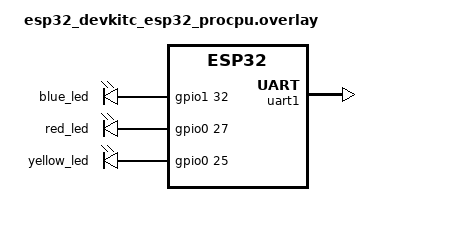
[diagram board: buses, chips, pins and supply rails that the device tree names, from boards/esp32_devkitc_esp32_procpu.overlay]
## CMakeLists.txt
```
# SPDX-License-Identifier: Apache-2.0

cmake_minimum_required(VERSION 3.20.0)

list(APPEND ZEPHYR_EXTRA_MODULES ${CMAKE_CURRENT_SOURCE_DIR}/../_modules/entity_lib)

find_package(Zephyr REQUIRED HINTS $ENV{ZEPHYR_BASE})
project(master)


target_include_directories(app PRIVATE include)

target_sources(app PRIVATE 
    src/main.c
    src/network_events.c
)
```

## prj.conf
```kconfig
CONFIG_HEAP_MEM_POOL_SIZE=8096
CONFIG_ZVFS_POLL_MAX=10

CONFIG_NO_OPTIMIZATIONS=y
```

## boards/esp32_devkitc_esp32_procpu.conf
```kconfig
CONFIG_GPIO=y

CONFIG_SERIAL=y

CONFIG_LOG=y
CONFIG_LOG_MAX_LEVEL=4
```

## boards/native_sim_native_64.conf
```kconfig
CONFIG_NATIVE_SIM_SLOWDOWN_TO_REAL_TIME=n
CONFIG_POSIX_API=y


CONFIG_GPIO=y
CONFIG_GPIO_EMUL=y

CONFIG_SERIAL=y
CONFIG_EMUL=y

CONFIG_NET_L2_ETHERNET=y
CONFIG_ETH_NATIVE_TAP=n
CONFIG_NET_SOCKETS=y
CONFIG_NETWORKING=y
CONFIG_NET_IPV4=y
CONFIG_NET_TCP=y
CONFIG_NET_ARP=y

CONFIG_LOG=y
CONFIG_LOG_MAX_LEVEL=4
```

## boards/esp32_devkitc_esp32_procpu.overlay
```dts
/ {
    aliases {
        command-bus =  &uart1;
        blue-led = &blue_led;
        red-led = &red_led;
        yellow-led = &yellow_led;
    };

    led_map: led-map {
        compatible = "gpio-leds";
        blue_led: blue-led {
            gpios = <&gpio1 32 GPIO_ACTIVE_HIGH>;
        };
        red_led: red-led {
            gpios = <&gpio0 27 GPIO_ACTIVE_HIGH>;
        };
        yellow_led: yellow-led {
            gpios = <&gpio0 25 GPIO_ACTIVE_HIGH>;
        };
    };
};

&gpio0 {
    status = "okay";
};

&gpio1 {
    status = "okay";
};

&uart1 {
    status = "okay";
    label = "ftest_uart_emul";
};
```

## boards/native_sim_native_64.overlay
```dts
/ {
    aliases {
        command-bus =  &uart1;
        blue-led = &blue_led;
        red-led = &red_led;
        yellow-led = &yellow_led;
    };

    ftest_eth: ftest_eth {
        status = "okay";
        compatible = "ftest,eth-inproc";
        status = "okay";
        mac = [ 00 11 22 33 44 57  ];
        ip = "192.169.0.2";
        mask = "255.255.255.0";
    };

    led_map: led-map {
        status = "okay";
        compatible = "gpio-leds";
        blue_led: blue-led {
            gpios = <&gpio0 1 GPIO_ACTIVE_HIGH>;
        };
        red_led: red-led {
            gpios = <&gpio0 2 GPIO_ACTIVE_HIGH>;
        };
        yellow_led: yellow-led {
            gpios = <&gpio0 3 GPIO_ACTIVE_HIGH>;
        };
    };
};

&gpio0 {
    status = "okay";
    label = "ftest_gpio_emul";
};

&uart1 {
    status = "okay";
    compatible = "zephyr,uart-emul";
    label = "ftest_uart_emul";
    current-speed = <0>;
    rx-fifo-size = <256>;
    tx-fifo-size = <256>;
};
```

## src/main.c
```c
#include "network_events.h"
#include "sys/socket.h"
#include "zephyr/drivers/gpio.h"
#include "zephyr/drivers/uart.h"
#include "zephyr/net/net_ip.h"
#include <errno.h>
#include <string.h>
#include <zephyr/kernel.h>
#include <zephyr/logging/log.h>
#include <zephyr/net/socket.h>

/******************************************************************************
 Definitions
 ******************************************************************************/

#define SERVER_PORT 12345

#define BUZZER_CMD_SHORT ((char)'b')
#define BUZZER_CMD_LONG ((char)'l')
#define BUZZER_CMD_STOP ((char)'s')

#define NET_CMD_IDENTIFY_AS_DEVICE ((char)'d')
#define NET_CMD_IDENTIFY_AS_STATION ((char)'s')
#define NET_CMD_ACK ((char)'a')
#define NET_CMD_DEVICE_REGISTERED ((char)'r')
#define NET_CMD_ALARM ((char)'\x01')
#define NET_CMD_ARM ((char)'\x02')
#define NET_CMD_DISARM ((char)'\x03')

/******************************************************************************
 Configuration
 ******************************************************************************/

LOG_MODULE_REGISTER(socket_client);

/******************************************************************************
 Devices
 ******************************************************************************/

static const struct gpio_dt_spec blue_led =
    GPIO_DT_SPEC_GET(DT_ALIAS(blue_led), gpios);

static const struct gpio_dt_spec red_led =
    GPIO_DT_SPEC_GET(DT_ALIAS(red_led), gpios);

static const struct gpio_dt_spec yellow_led =
    GPIO_DT_SPEC_GET(DT_ALIAS(yellow_led), gpios);

static const struct device *uart = DEVICE_DT_GET(DT_ALIAS(command_bus));

/******************************************************************************
 Data
 ******************************************************************************/

enum alarm_state {
  ALARM_STATE_DISABLED,
  ALARM_STATE_ARMED,
};

static enum alarm_state alarm_state = ALARM_STATE_DISABLED;
static unsigned server_id = NETWORK_DEVICE_ID_NO_DEVICE;

/******************************************************************************
 Delayed work
 ******************************************************************************/

static void disable_red_led(struct k_work *work) {

  int ret = gpio_pin_set_dt(&red_led, 0);
  if (ret < 0) {
    LOG_ERR("Failed to disable red LED, error %d", ret);
    return;
  }

  LOG_INF("Red LED disabled");
}

K_WORK_DELAYABLE_DEFINE(disable_red_led_work, disable_red_led);

static void disable_blue_led(struct k_work *work) {

  int ret = gpio_pin_set_dt(&blue_led, 0);
  if (ret < 0) {
    LOG_ERR("Failed to disable blue LED, error %d", ret);
    return;
  }

  LOG_INF("Blue LED disabled");
}

K_WORK_DELAYABLE_DEFINE(disable_blue_led_work, disable_blue_led);

static void disable_yellow_led(struct k_work *work) {

  int ret = gpio_pin_set_dt(&yellow_led, 0);
  if (ret < 0) {
    LOG_ERR("Failed to disable yellow LED, error %d", ret);
    return;
  }

  LOG_INF("Yellow LED disabled");
}

K_WORK_DELAYABLE_DEFINE(disable_yellow_led_work, disable_yellow_led);

/******************************************************************************
 Utils
 ******************************************************************************/

static int send_confirmation(int device_id) {
  int ret;

  int fd = network_device_get_fd(device_id);

  if (fd < 0) {
    LOG_ERR("Failed to get file descriptor for device %d", device_id);
    return -1;
  }

  char command = NET_CMD_ACK;
  ret = send(fd, &command, sizeof(command), 0);

  return ret > 0 ? 0 : -1;
}

static int send_dev_registered(void) {
  int ret;

  int fd = network_device_get_fd(server_id);

  if (fd < 0) {
    LOG_ERR("Failed to get file descriptor for device %d", server_id);
    return -1;
  }

  char command = NET_CMD_DEVICE_REGISTERED;
  ret = send(fd, &command, sizeof(command), 0);

  if (ret < 0) {
    LOG_ERR("Failed to send device registered command for server %d, error %d",
            server_id, errno);
    return -1;
  }

  return ret > 0 ? 0 : -1;
}

/******************************************************************************
 Handlers
 ******************************************************************************/

static int trigger_alarm(unsigned device_id) {
  int ret;

  if (alarm_state == ALARM_STATE_DISABLED) {
    LOG_WRN("Ignoring alarm, as device %d is disarmed for device", device_id);
    return -1;
  }

  LOG_INF("Alarm triggered for device %d", device_id);

  ret = gpio_pin_set_dt(&red_led, 1);

  if (ret < 0) {
    LOG_ERR("Failed to enable red LED, error %d", ret);
    return ret;
  }

  uart_poll_out(uart, BUZZER_CMD_SHORT);

  int server_fd = network_device_get_fd(server_id);

  if (server_fd < 0) {
    LOG_ERR("Failed to get file descriptor for server %d", server_id);
    return -1;
  }

  char command = NET_CMD_ALARM;
  ret = send(server_fd, &command, sizeof(command), 0);

  if (ret < 0) {
    LOG_ERR("Failed to send alarm command for device %d, error %d", device_id,
            errno);
    return ret;
  }

  return 0;
}

static int disarm_system(unsigned device_id) {
  int ret;

  LOG_INF("Disarming system for device %d", device_id);
  alarm_state = ALARM_STATE_DISABLED;

  ret = gpio_pin_set_dt(&yellow_led, 0);
  if (ret < 0) {
    LOG_ERR("Failed to enable yellow LED, error %d", ret);
    return ret;
  }

  ret = send_confirmation(device_id);
  if (ret < 0) {
    LOG_ERR("Failed to send confirmation for device %d, error %d", device_id,
            ret);
    return ret;
  }

  uart_poll_out(uart, BUZZER_CMD_STOP);
  return -1;
}

static int arm_system(unsigned device_id) {
  int ret;

  LOG_INF("Arming system for device %d", device_id);
  alarm_state = ALARM_STATE_ARMED;

  ret = gpio_pin_set_dt(&yellow_led, 1);
  if (ret < 0) {
    LOG_ERR("Failed to enable yellow LED, error %d", ret);
    return ret;
  }

  uart_poll_out(uart, BUZZER_CMD_LONG);

  ret = send_confirmation(device_id);
  if (ret < 0) {
    LOG_ERR("Failed to send confirmation for device %d, error %d", device_id,
            ret);
    return ret;
  }

  return 0;
}

static int identify_as_device(unsigned device_id) {
  int ret;

  LOG_INF("Identifying as device for device %d", device_id);

  ret = gpio_pin_set_dt(&blue_led, 1);

  if (ret < 0) {
    LOG_ERR("Failed to enable blue LED, error %d", ret);
    return ret;
  }

  ret = k_work_schedule(&disable_blue_led_work, K_MSEC(300));

  if (ret < 0) {
    LOG_ERR("Failed to schedule work to disable yellow LED, error %d", ret);
    return ret;
  }

  ret = network_device_set_handler(device_id, NET_CMD_ALARM, trigger_alarm);

  if (ret < 0) {
    LOG_ERR("Failed to set handler for alarm command, error %d", ret);
    return ret;
  }

  ret = send_dev_registered();
  if (ret < 0) {
    LOG_ERR("Failed to send device registered for device %d, error %d",
            device_id, ret);
    return ret;
  }

  return 0;
}

static int identify_as_station(unsigned device_id) {
  int ret;

  LOG_INF("Identifying as station for device %d", device_id);

  if (server_id != NETWORK_DEVICE_ID_NO_DEVICE) {
    LOG_ERR("Server already identified, cannot identify as station");
    return -1;
  }

  server_id = device_id;

  ret = gpio_pin_set_dt(&blue_led, 1);

  if (ret < 0) {
    LOG_ERR("Failed to enable blue LED, error %d", ret);
    return ret;
  }

  ret = k_work_schedule(&disable_blue_led_work, K_MSEC(300));

  if (ret < 0) {
    LOG_ERR("Failed to schedule work to disable blue LED, error %d", ret);
    return ret;
  }

  ret = network_device_set_handler(device_id, NET_CMD_ALARM, trigger_alarm);

  if (ret < 0) {
    LOG_ERR("Failed to set handler for alarm command, error %d", ret);
    return ret;
  }

  ret = network_device_set_handler(device_id, NET_CMD_ARM, arm_system);
  if (ret < 0) {
    LOG_ERR("Failed to set handler for arm command, error %d", ret);
    return ret;
  }

  ret = network_device_set_handler(device_id, NET_CMD_DISARM, disarm_system);
  if (ret < 0) {
    LOG_ERR("Failed to set handler for disarm command, error %d", ret);
    return ret;
  }

  ret = send_confirmation(device_id);
  if (ret < 0) {
    LOG_ERR("Failed to send confirmation for device %d, error %d", device_id,
            ret);
    return ret;
  }

  return 0;
}

/******************************************************************************
 Error handling
 ******************************************************************************/

static void handle_net_error(unsigned device_id, int error_code) {
  LOG_ERR("Network error for device %d: %d", device_id, error_code);

  if (alarm_state == ALARM_STATE_ARMED) {
    trigger_alarm(device_id);
  }

  network_device_remove(device_id);
}

static void handle_command_error(unsigned device_id, unsigned char command,
                                 int error_code) {
  LOG_ERR("Command error for device %d, command '%c': %d", device_id, command,
          error_code);

  if (alarm_state == ALARM_STATE_ARMED) {
    trigger_alarm(device_id);
  }

  network_device_remove(device_id);
}

/******************************************************************************
 Main
 ******************************************************************************/

int main(void) {
  /** configure led pins */
  gpio_pin_configure_dt(&blue_led, GPIO_OUTPUT_ACTIVE);
  gpio_pin_configure_dt(&red_led, GPIO_OUTPUT_ACTIVE);
  gpio_pin_configure_dt(&yellow_led, GPIO_OUTPUT_ACTIVE);

  if (!device_is_ready(uart)) {
    LOG_ERR("UART device not ready");
    return -ENODEV;
  }

  int server_socket = socket(AF_INET, SOCK_STREAM, IPPROTO_TCP);

  if (server_socket < 0) {
    LOG_ERR("Failed to create socket, error %d: %s", errno, strerror(errno));
    return -errno;
  }

  struct sockaddr_in server_addr = {
      .sin_family = AF_INET,
      .sin_port = htons(SERVER_PORT),
      .sin_addr.s_addr = htonl(INADDR_ANY),
  };

  int ret =
      bind(server_socket, (struct sockaddr *)&server_addr, sizeof(server_addr));

  if (ret < 0) {
    LOG_ERR("Failed to bind socket, error %d: %s", errno, strerror(errno));
    close(server_socket);
    return -errno;
  }

  ret = listen(server_socket, 5);
  if (ret < 0) {
    LOG_ERR("Failed to listen on socket, error %d: %s", errno, strerror(errno));
    close(server_socket);
    return -errno;
  }

  unsigned device_id_counter = 1;

  while (true) {
    ret = accept(server_socket, NULL, NULL);

    if (ret < 0) {
      LOG_ERR("Failed to accept connection, error %d: %s", errno,
              strerror(errno));
      continue;
    }

    LOG_INF("Accepted connection on socket %d", ret);

    unsigned device_id = device_id_counter++;

    if (alarm_state == ALARM_STATE_ARMED) {
      LOG_INF("Alarm is armed, triggering alarm for new connection");
      ret = trigger_alarm(device_id_counter);

      if (ret < 0) {
        LOG_ERR("Failed to trigger alarm for new connection, error %d", ret);
      }

      close(ret);
      continue;
    }

    ret = network_device_add(device_id, ret);
    if (ret < 0) {
      LOG_ERR("Failed to add network device with id %d, error %d: %s",
              device_id, errno, strerror(errno));
      close(ret);
      continue;
    }

    ret = network_device_set_command_error_handler(device_id,
                                                   handle_command_error);
    if (ret < 0) {
      LOG_ERR("Failed to set command error handler for device %d, error %d",
              device_id, ret);
      network_device_remove(device_id);
      close(ret);
      continue;
    }

    ret = network_device_set_net_error_handler(device_id, handle_net_error);
    if (ret < 0) {
      LOG_ERR("Failed to set network error handler for device %d, error %d",
              device_id, ret);
      network_device_remove(device_id);
      close(ret);
      continue;
    }

    LOG_INF("Network device with id %d added successfully", device_id);

    ret = network_device_set_handler(device_id, NET_CMD_IDENTIFY_AS_DEVICE,
                                     identify_as_device);
    if (ret < 0) {
      LOG_ERR("Failed to set identify as device handler, error %d", ret);
      network_device_remove(device_id);
      close(ret);
      continue;
    }

    ret = network_device_set_handler(device_id, NET_CMD_IDENTIFY_AS_STATION,
                                     identify_as_station);

    if (ret < 0) {
      LOG_ERR("Failed to set identify as station handler, error %d", ret);
      network_device_remove(device_id);
      close(ret);
      continue;
    }

    LOG_INF("Network device with id %d is ready to handle commands", device_id);
    network_device_enable_handling(device_id);

    ret = network_device_notify_reconfig();
    if (ret < 0) {
      LOG_ERR("Failed to notify reconfiguration, error %d: %s", errno,
              strerror(errno));
      network_device_remove(device_id);
      close(ret);
      continue;
    }
  }
}
```

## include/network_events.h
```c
#pragma once
#include <stdbool.h>

/******************************************************************************
 Definitions
 ******************************************************************************/

#define NETWORK_DEVICE_ID_NO_DEVICE 0

/******************************************************************************
 API
 ******************************************************************************/

bool network_device_exists(unsigned device_id);

int network_device_get_fd(unsigned device_id);

int network_device_add(unsigned device_id, int fd);

int network_device_enable_handling(unsigned device_id);

int network_device_disable_handling(unsigned device_id);

int network_device_remove(unsigned device_id);

int network_device_notify_reconfig();

int network_device_set_command_error_handler(
    unsigned device_id, void (*handler)(unsigned, unsigned char, int));

int network_device_set_net_error_handler(unsigned device_id,
                                         void (*handler)(unsigned, int));

int network_device_set_handler(int device_id, unsigned char command,
                               int (*handler)(unsigned));
```

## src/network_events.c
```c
#include "network_events.h"
#include "poll.h"
#include "sys/socket.h"
#include "zephyr/kernel.h"
#include "zephyr/logging/log.h"
#include <errno.h>
#include <stddef.h>
#include <string.h>
#include <sys/_types.h>

/******************************************************************************
 Definitions
 ******************************************************************************/

#define MAX_TRACKED_DEVICES 10
#define COMMAND_HANDLER_COUNT (UCHAR_MAX + 1)

#define POLLFD_RECONF_SOCK_IDX 0

#define UNIX_CMD_RECONFIG ((char)'\r')
#define UNIX_CMD_ACK ((char)'\a')

#define EVENT_HANDLER_POLL_TIMEOUT -1

/******************************************************************************
 Configuration
 ******************************************************************************/

LOG_MODULE_REGISTER(network_events);

/******************************************************************************
 Structures
 ******************************************************************************/

struct network_device {
  unsigned device_id;
  int fd;
  bool handled;
  int (*command_handlers[COMMAND_HANDLER_COUNT])(unsigned);
  void (*net_error_handler)(unsigned device_id, int error_code);
  void (*command_error_handler)(unsigned device_id, unsigned char command,
                                int error_code);
};

/******************************************************************************
 Data
 ******************************************************************************/

static int config_socket;

static struct network_device tracked_devices[MAX_TRACKED_DEVICES];

/******************************************************************************
 Utils
 ******************************************************************************/

static struct network_device *find_free_place() {
  for (unsigned i = 0; i < MAX_TRACKED_DEVICES; i++) {
    struct network_device *place = &tracked_devices[i];

    if (place->device_id == NETWORK_DEVICE_ID_NO_DEVICE) {
      return place;
    }
  }

  return NULL;
}

static struct network_device *network_device_find_by_id(unsigned device_id) {
  for (unsigned i = 0; i < MAX_TRACKED_DEVICES; i++) {
    struct network_device *dev = &tracked_devices[i];

    if (dev->device_id == NETWORK_DEVICE_ID_NO_DEVICE) {
      continue;
    }

    if (dev->device_id == device_id) {
      return dev;
    }
  }

  return NULL;
}

static struct network_device *network_device_find_by_fd(int fd) {
  for (unsigned i = 0; i < MAX_TRACKED_DEVICES; i++) {
    struct network_device *dev = &tracked_devices[i];

    if (dev->device_id == NETWORK_DEVICE_ID_NO_DEVICE) {
      continue;
    }

    if (dev->fd == fd) {
      return dev;
    }
  }

  return NULL;
}

/******************************************************************************
 API
 ******************************************************************************/

bool network_device_exists(unsigned device_id) {
  return network_device_find_by_id(device_id) != NULL;
}

int network_device_get_fd(unsigned device_id) {
  struct network_device *net_dev = network_device_find_by_id(device_id);

  if (net_dev < 0) {
    return -1;
  }

  return net_dev->fd;
}

int network_device_add(unsigned device_id, int fd) {
  if (device_id == NETWORK_DEVICE_ID_NO_DEVICE) {
    return -1;
  }

  struct network_device *dev = network_device_find_by_id(device_id);

  if (dev != NULL) {
    return -1;
  }

  dev = find_free_place();

  if (dev == NULL) {
    return -1;
  }

  dev->device_id = device_id;
  dev->fd = fd;

  memset(dev->command_handlers, 0, sizeof(dev->command_handlers));

  return 0;
}

int network_device_enable_handling(unsigned device_id) {
  struct network_device *dev = network_device_find_by_id(device_id);

  if (dev == NULL) {
    return -1;
  }

  dev->handled = true;
  LOG_INF("Device %d handling enabled", device_id);
  return 0;
}

int network_device_disable_handling(unsigned device_id) {
  struct network_device *dev = network_device_find_by_id(device_id);

  if (dev == NULL) {
    return -1;
  }

  dev->handled = false;
  LOG_INF("Device %d handling disabled", device_id);
  return 0;
}

int network_device_remove(unsigned device_id) {
  struct network_device *dev = network_device_find_by_id(device_id);

  if (dev == NULL) {
    return -1;
  }

  dev->device_id = NETWORK_DEVICE_ID_NO_DEVICE;

  return 0;
}

int network_device_notify_reconfig(void) {

  char command = UNIX_CMD_RECONFIG;
  int ret = send(config_socket, &command, sizeof(command), 0);

  if (ret < 0) {
    return ret;
  }

  char response;
  ret = recv(config_socket, &response, sizeof(response), 0);

  if (ret <= 0 || response != UNIX_CMD_ACK) {
    return -1;
  }

  return 0;
}

int network_device_set_command_error_handler(
    unsigned device_id, void (*handler)(unsigned, unsigned char, int)) {
  struct network_device *dev = network_device_find_by_id(device_id);

  if (dev == NULL) {
    LOG_ERR("Device with id %d not found", device_id);
    return -1;
  }

  dev->command_error_handler = handler;

  LOG_INF("Command error handler set for device %d", device_id);
  return 0;
}

int network_device_set_net_error_handler(unsigned device_id,
                                         void (*handler)(unsigned, int)) {
  struct network_device *dev = network_device_find_by_id(device_id);

  if (dev == NULL) {
    LOG_ERR("Device with id %d not found", device_id);
    return -1;
  }

  dev->net_error_handler = handler;
  LOG_INF("Network error handler set for device %d", device_id);
  return 0;
}

int network_device_set_handler(int device_id, unsigned char command,
                               int (*handler)(unsigned)) {

  struct network_device *dev = network_device_find_by_id(device_id);

  if (dev == NULL) {
    return -1;
  }

  dev->command_handlers[command] = handler;
  return 0;
}

/******************************************************************************
 Handler thread
 ******************************************************************************/

static size_t get_pollfd_from_traced_devices(int local_config_socket,
                                             struct pollfd *pollfds) {
  size_t pollfd_count = 1;

  pollfds[POLLFD_RECONF_SOCK_IDX].fd = local_config_socket;
  pollfds[POLLFD_RECONF_SOCK_IDX].events = POLLIN;

  for (unsigned i = 0; i < MAX_TRACKED_DEVICES; i++) {
    struct network_device *dev = &tracked_devices[i];

    if (dev->device_id == NETWORK_DEVICE_ID_NO_DEVICE) {
      continue;
    }

    pollfds[pollfd_count].fd = dev->fd;
    pollfds[pollfd_count].events = POLLIN;
    pollfd_count++;
  }

  return pollfd_count;
}

void handle_socket_commands(struct pollfd *pollfds, size_t num_fds) {
  int ret;

  for (unsigned i = 0; i < num_fds; i++) {
    if (i == POLLFD_RECONF_SOCK_IDX) {
      continue;
    }

    struct pollfd *pfd = &pollfds[i];
    struct network_device *net_dev = network_device_find_by_fd(pfd->fd);

    if (net_dev == NULL) {
      LOG_ERR("Failure finding device with fd %d", pfd->fd);
      continue;
    }

    if (pfd->revents & (POLLERR | POLLHUP | POLLNVAL)) {
      // get the error from the socket
      int error_code;
      socklen_t error_code_len = sizeof(error_code);
      ret = getsockopt(pfd->fd, SOL_SOCKET, SO_ERROR, &error_code,
                       &error_code_len);

      if (ret < 0) {
        LOG_ERR("Failed to get socket error for fd %d, device_id %d: %s",
                pfd->fd, net_dev->device_id, strerror(errno));
      }

      LOG_ERR(
          "Device with id %d encountered error during poll, removing it: %s",
          net_dev->device_id, strerror(error_code));
      if (net_dev->net_error_handler != NULL) {
        net_dev->net_error_handler(net_dev->device_id, error_code);
      }

      ret = network_device_remove(net_dev->device_id);
      continue;
    }

    if (pfd->revents & POLLIN && net_dev->handled) {
      unsigned char command = 0;
      ret = recv(pfd->fd, &command, sizeof command, 0);

      if (ret < 0) {
        LOG_ERR("Failure receiving data from socket %d, device_id %d",
                net_dev->fd, net_dev->device_id);
        if (net_dev->net_error_handler != NULL) {
          net_dev->net_error_handler(net_dev->device_id, errno);
        }
        continue;
      }

      int (*handler)(unsigned) = net_dev->command_handlers[command];

      if (handler == NULL) {
        LOG_ERR("Attermpting to call a command '%c' for which a handler was "
                "not registered.");
        continue;
      }

      LOG_INF("Executing handler for command %c, device %d", command,
              net_dev->device_id);
      ret = handler(net_dev->device_id);

      if (ret < 0) {
        LOG_ERR("Command handler '%c' failed while executing for fd %d, "
                "device_id %d",
                command, net_dev->fd, net_dev->device_id);
        if (net_dev->command_error_handler != NULL) {
          net_dev->command_error_handler(net_dev->device_id, command, ret);
        }
      }
    }
  }
}

static void event_handler(void *unused0, void *unused1, void *unused2) {
  int config_sockpair[2];

  int ret = socketpair(AF_UNIX, SOCK_STREAM, 0, config_sockpair);

  if (ret < 0) {
    LOG_ERR("Failed to initialize configuration pair of sockets");
    return;
  }

  config_socket = config_sockpair[0];
  int local_config_socket = config_sockpair[1];

  LOG_INF("Event handler thread initialized");

  while (true) {
    struct pollfd pollfd_sockets[MAX_TRACKED_DEVICES];
    size_t num_fds =
        get_pollfd_from_traced_devices(local_config_socket, pollfd_sockets);

    ret = poll(pollfd_sockets, num_fds, EVENT_HANDLER_POLL_TIMEOUT);

    if (ret <= 0) {
      LOG_ERR("Unexpected error occurred at poll, %s", strerror(errno));
      return;
    }

    if (pollfd_sockets[POLLFD_RECONF_SOCK_IDX].revents &
        (POLLERR | POLLHUP | POLLNVAL)) {
      LOG_ERR("Fatal command handler error, error on socket");
      return;
    }

    if (pollfd_sockets[POLLFD_RECONF_SOCK_IDX].revents & POLLIN) {

      char command;
      ret = recv(pollfd_sockets[POLLFD_RECONF_SOCK_IDX].fd, &command,
                 sizeof command, 0);

      if (ret < 0) {
        LOG_ERR("Failed to receive a reconfig command");
        continue;
      }

      if (command != UNIX_CMD_RECONFIG) {
        LOG_ERR("Unrecognized config command: %c", command);
      }

      LOG_INF("Reconfigure command received");

      char response = UNIX_CMD_ACK;
      ret = send(pollfd_sockets[POLLFD_RECONF_SOCK_IDX].fd, &response,
                 sizeof(response), 0);

      if (ret < 0) {
        LOG_ERR("Failed to respond to a reconfig command");
      }

      continue;
    }

    handle_socket_commands(pollfd_sockets, num_fds);

    k_msleep(10);
  }
}

K_THREAD_DEFINE(device_event_handler, 2048, event_handler, NULL, NULL, NULL,
                K_PRIO_COOP(10), 0, 0);
```
